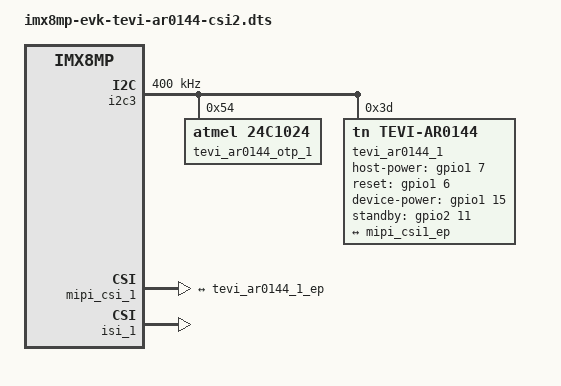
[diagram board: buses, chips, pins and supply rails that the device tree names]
// SPDX-License-Identifier: (GPL-2.0+ OR MIT)
/*
 * Copyright 2021 Technexion Ltd.
 *
 * This program is free software; you can redistribute it and/or
 * modify it under the terms of the GNU General Public License
 * as published by the Free Software Foundation; either version 2
 * of the License, or (at your option) any later version.
 *
 * This program is distributed in the hope that it will be useful,
 * but WITHOUT ANY WARRANTY; without even the implied warranty of
 * MERCHANTABILITY or FITNESS FOR A PARTICULAR PURPOSE.  See the
 * GNU General Public License for more details.
 */

#include "imx8mp-evk.dts"

&i2c2 {
	ov5640_0: ov5640_mipi@3c {
		status = "disabled";
	};
};

&i2c3 {
	clock-frequency = <400000>;
	/delete-node/ ov5640_mipi@3c;

	tevi_ar0144_otp_1: tevi_ar0144_otp@54 {
		compatible = "atmel,24c1024";
		reg = <0x54>;
		pagesize = <128>;
		//read-only;
	};

	tevi_ar0144_1: tevi_ar0144@3d {
		compatible = "tn,tevi-ar0144";
		reg = <0x3d>;
		pinctrl-names = "default";
		pinctrl-0 = <&pinctrl_csi0_pwn>, <&pinctrl_csi0_rst>, <&pinctrl_csi_mclk>;
		host-power-gpios = <&gpio1 7 GPIO_ACTIVE_HIGH>;
		reset-gpios = <&gpio1 6 GPIO_ACTIVE_HIGH>;
		device-power-gpios = <&gpio1 15 GPIO_ACTIVE_HIGH>;
		standby-gpios = <&gpio2 11 GPIO_ACTIVE_HIGH>;
		nvmem = <&tevi_ar0144_otp_1>;
		nvmem-names = "calib-data";
		status = "okay";

		port {
			tevi_ar0144_1_ep: endpoint {
				remote-endpoint = <&mipi_csi1_ep>;
			};
		};
	};
};

&mipi_csi_0 {
	status = "disabled";
};

&mipi_csi_1 {
	status = "okay";

	port@1 {
		endpoint {
			remote-endpoint = <&tevi_ar0144_1_ep>;
			data-lanes = <4>;
			csis-hs-settle = <13>;
			csis-clk-settle = <2>;
			csis-wclk;
		};
	};
};

&isi_0 {
	status = "disabled";
};

&isi_1 {
	status = "okay";
};

&iomuxc {
	pinctrl_csi0_pwn: csi0_pwn_grp {
		fsl,pins = <
			MX8MP_IOMUXC_SD1_STROBE__GPIO2_IO11	0x9 /* CSI1_PWDN for host-power-gpios */
			MX8MP_IOMUXC_GPIO1_IO07__GPIO1_IO07	0x9 /* INFO_TRIG_IN1 for standby-gpios */
		>;
	};

	pinctrl_csi_mclk: csi_mclk_grp {
	fsl,pins = <
		MX8MP_IOMUXC_GPIO1_IO15__GPIO1_IO15	0x9
		>;
	};
};
